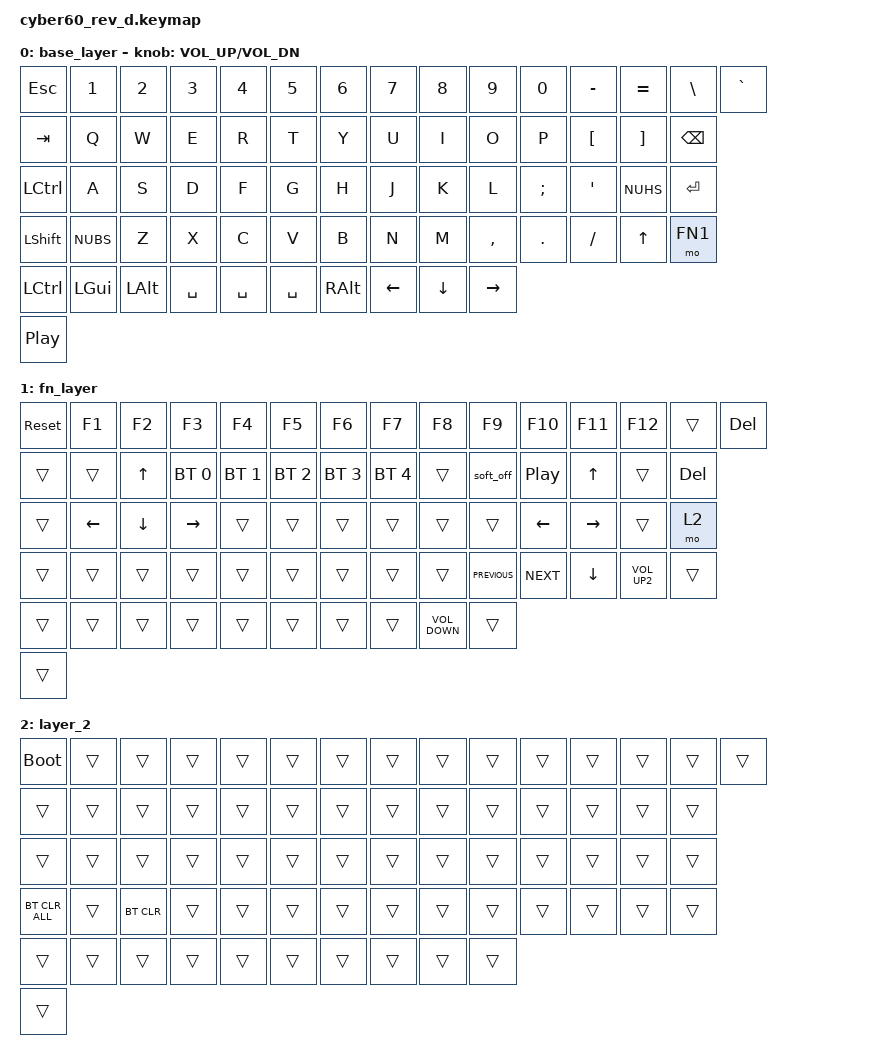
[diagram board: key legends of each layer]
#include <behaviors.dtsi>
#include <dt-bindings/zmk/bt.h>
#include <dt-bindings/zmk/keys.h>

#define FN1 1

/ {
    keymap {
        compatible = "zmk,keymap";

        base_layer {
            // Base layer
            // ------------------------------------------------------------------------------------------
            // | ESC |  1  |  2  |  3  |  4  |  5  |  6  |  7  |  8  |  9  |  0  |  -  |  =  |   BKSP   |
            // |  TAB |  Q  |  W  |  E  |  R  |  T  |  Y  |  U  |  I  |  O  |  P  |  [  |  ]  |   "|"   |
            // | CAPS  |  A  |  S  |  D  |  F  |  G  |  H  |  J  |  K  |  L  |  ;  |  '  |NUHS| ENTER   |
            // | SHIFT |NUBS| Z |  X  |  C  |  V  |  B  |  N  |  M  |  ,  |  .  |  /  |    Shift   | FN |
            // |  LCTL  |  LWIN  |  LALT  | SPACE  | SPACE |    SPACE   |  RALT | FN  |   RWIN  | RCTRL |
            // | Rotary | (<-- Rotary switch) ----------------------------------------------------------- 

            bindings = <
&kp ESC           &kp N1    &kp N2    &kp N3     &kp N4     &kp N5     &kp N6    &kp N7    &kp N8    &kp N9     &kp N0    &kp MINUS  &kp EQUAL     &kp BSLH       &kp GRAVE
&kp TAB           &kp Q     &kp W     &kp E      &kp R      &kp T      &kp Y     &kp U     &kp I     &kp O      &kp P     &kp LBKT   &kp RBKT      &kp BACKSPACE
&kp LEFT_CONTROL  &kp A     &kp S     &kp D      &kp F      &kp G      &kp H     &kp J     &kp K     &kp L      &kp SEMI  &kp SQT    &kp NUHS      &kp RET
&kp LSHFT         &kp NUBS  &kp Z     &kp X      &kp C      &kp V      &kp B     &kp N     &kp M     &kp COMMA  &kp DOT   &kp FSLH   &kp UP_ARROW  &mo FN1
&kp LCTRL         &kp LGUI  &kp LALT  &kp SPACE  &kp SPACE  &kp SPACE  &kp RALT  &kp LEFT  &kp DOWN  &kp RIGHT
&kp C_PP
            >;

            sensor-bindings = <&inc_dec_kp C_VOL_UP C_VOL_DN>;
        };

        fn_layer {
            // Function layer
            // ------------------------------------------------------------------------------------------
            // | RESET | F1 |  F2 |  F3 |  F4 |  F5 |  F6 |  F7 |  F8 |  F9 | F10 | F11 | F12 |TRNS | DEL |
            // |BT_CLR |TRNS | UP  | BT0 | BT1 | BT2 | BT3 | BT4 | TRNS | TRNS | TRNS | TRNS | TRNS | TRNS|
            // | BOOTL  |LEFT |DOWN |RIGHT|TRNS |TRNS |TRNS | TRNS| TRNS |TRNS| TRNS |TRNS | TRNS | TRNS  |
            // | TRNS |TRNS|TRNS|TRNS|TRNS | TRNS| TRNS | TRNS |  TRNS| TRNS | TRNS| TRNS |   TRNS   |TRNS|
            // |  TRNS | TRNS | TRNS |      TRNS      | TRNS |     TRNS     |  TRNS |  TRNS | TRNS | TRNS |
            // | Rotary | (<-- Rotary switch) ----------------------------------------------------------- 

            bindings = <
&sys_reset  &kp F1    &kp F2    &kp F3        &kp F4        &kp F5        &kp F6        &kp F7        &kp F8             &kp F9          &kp F10           &kp F11       &kp F12           &trans   &kp DEL
&trans      &trans    &kp UP    &bt BT_SEL 0  &bt BT_SEL 1  &bt BT_SEL 2  &bt BT_SEL 3  &bt BT_SEL 4  &trans             &soft_off       &kp C_PLAY_PAUSE  &kp UP_ARROW  &trans            &kp DEL
&trans      &kp LEFT  &kp DOWN  &kp RIGHT     &trans        &trans        &trans        &trans        &trans             &trans          &kp LEFT          &kp RIGHT     &trans            &mo 2
&trans      &trans    &trans    &trans        &trans        &trans        &trans        &trans        &trans             &kp K_PREVIOUS  &kp K_NEXT        &kp DOWN      &kp K_VOLUME_UP2  &trans
&trans      &trans    &trans    &trans        &trans        &trans        &trans        &trans        &kp K_VOLUME_DOWN  &trans
&trans
            >;
        };

        layer_2 {
            bindings = <
&bootloader     &trans  &trans      &trans  &trans  &trans  &trans  &trans  &trans  &trans  &trans  &trans  &trans  &trans  &trans
&trans          &trans  &trans      &trans  &trans  &trans  &trans  &trans  &trans  &trans  &trans  &trans  &trans  &trans
&trans          &trans  &trans      &trans  &trans  &trans  &trans  &trans  &trans  &trans  &trans  &trans  &trans  &trans
&bt BT_CLR_ALL  &trans  &bt BT_CLR  &trans  &trans  &trans  &trans  &trans  &trans  &trans  &trans  &trans  &trans  &trans
&trans          &trans  &trans      &trans  &trans  &trans  &trans  &trans  &trans  &trans
&trans
            >;
        };
    };
};
